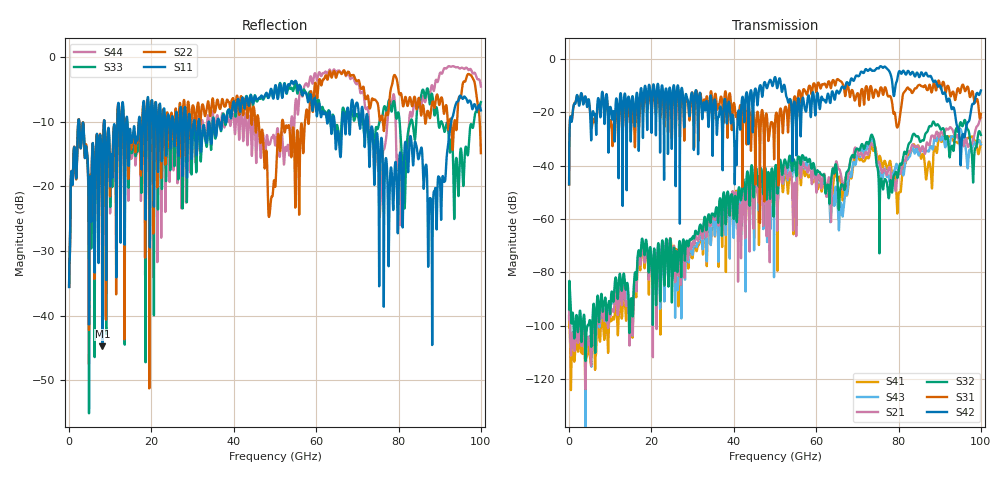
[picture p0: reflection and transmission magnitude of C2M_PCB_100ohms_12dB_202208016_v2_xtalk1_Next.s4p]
! Info: Touchstone file created by Circ.  Input file=Intel_C2M_200G_2p5in_202208016_staggered.circ
# Hz S RI R 50
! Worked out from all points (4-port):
!   10000 points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, 10 MHz to 100 GHz, reference 50 ohm
!   strongest paths, dB at 10 MHz, 25.01 GHz, 50.01 GHz, 75.01 GHz, 100 GHz:
!     S42: -47.0, -23.5, -6.9, -3.6, -11.9
!     S31: -47.2, -26.0, -24.3, -13.8, -20.7
!     S32: -93.9, -86.8, -41.4, -41.8, -28.5
!     S21: -96.4, -75.0, -43.5, -39.1, -22.1
!     S43: -96.3, -81.5, -45.0, -41.7, -32.0
!     S41: -97.4, -71.7, -46.6, -38.6, -31.5
!   lowest |S11| = -44.7 dB at 8.09 GHz (marker M1), VSWR 1.01, Z = 50.4 - j0.408 ohm
!   |S11| at or under -10 dB: 2.445 GHz to 8.482 GHz (6.037 GHz wide, 110 % of centre); 31.65 GHz to 34.92 GHz (3.268 GHz wide, 9.82 % of centre); 72.58 GHz to 92.78 GHz (20.2 GHz wide, 24.4 % of centre)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
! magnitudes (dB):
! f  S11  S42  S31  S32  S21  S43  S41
! 10 MHz  -35.6  -47.0  -47.2  -93.9  -96.4  -96.3  -97.4
! 8.09 GHz  -44.7  -12.4  -14.0  -92.7  -94.1  -93.6  -96.2
! 40.41 GHz  -8.6  -31.4  -21.2  -51.6  -50.1  -51.0  -51.0
! 73.52 GHz  -10.8  -4.5  -11.7  -28.5  -31.8  -29.5  -32.7
! 76.19 GHz  -16.9  -3.4  -13.3  -48.8  -42.3  -44.6  -40.6
! 95.28 GHz  -6.2  -32.5  -10.8  -24.4  -29.3  -27.1  -29.9
! 100 GHz  -8.3  -11.9  -20.7  -28.5  -22.1  -32.0  -31.5
